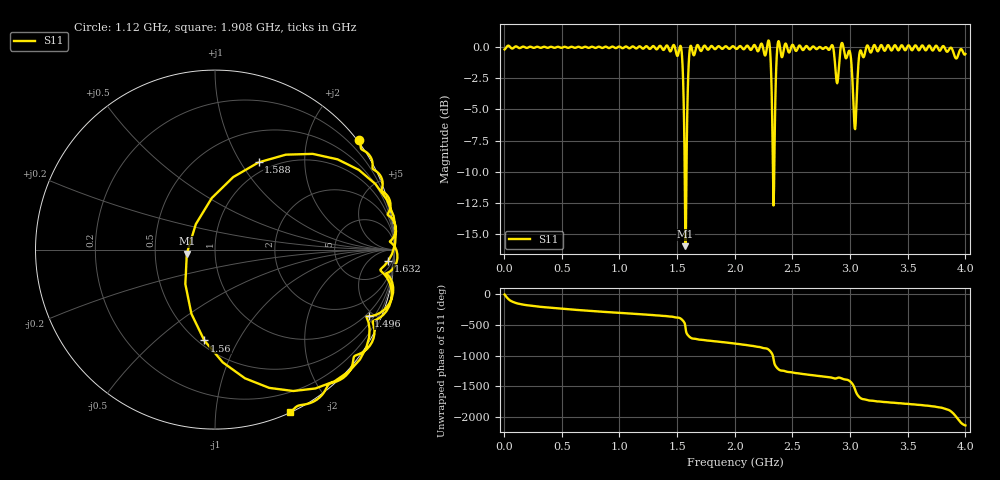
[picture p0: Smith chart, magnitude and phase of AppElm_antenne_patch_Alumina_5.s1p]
! TOUCHSTONE file generated by CST MICROWAVE STUDIO
! Date and time: Thu Jun  9 09:13:15 2022
! Project name: AppElm_antenne_patch_Alumina.cst
! Parameters = {L=30.5; W=41.8; e=0.035; h=1.6; lambda=0.190476; ls=90; w0=1.064; w1=0.373; ws=90; y0=14; y1=10}
! Header version: 2018
! Port assignment regex: !\s*Touchstone port\s*([0-9]+)\s*=\s*(CST MWS port|CST DS port)\s*([0-9]+|Zmin|Zmax)\s*\(\"(.*)\"\)(\s*mode\s*([0-9]+))?.*
! Touchstone port assignment:
! Touchstone port 1 = CST MWS port 1 ("")
# GHz S MA R 50
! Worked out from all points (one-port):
!   1000 points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, 4 MHz to 4 GHz, reference 50 ohm
!   lowest |S11| = -16.0 dB at 1.572 GHz (marker M1), VSWR 1.38, Z = 36.4 - j1.63 ohm
!   |S11| at or under -10 dB: 1.566 GHz to 1.581 GHz (15.19 MHz wide, 0.965 % of centre); 2.331149 GHz to 2.342106 GHz (10.96 MHz wide, 0.469 % of centre)
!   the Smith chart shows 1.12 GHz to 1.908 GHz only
!   S11 on the Smith chart (normalised r, x): 1.12 GHz: -0.03, +2.96; 1.496 GHz: 0.81, -4.68; 1.56 GHz: 0.54, -0.73; 1.588 GHz: 0.87, +1.20; 1.632 GHz: 12, -24; 1.908 GHz: 0.00, -1.57
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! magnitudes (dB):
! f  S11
! 4 MHz  -0.2
! 504 MHz  0.0
! 1.004 GHz  0.0
! 1.12 GHz  0.1
! 1.496 GHz  -0.6
! 1.504 GHz  -0.7
! 1.536 GHz  -0.1
! 1.56 GHz  -5.9
! 1.572 GHz  -16.0
! 1.588 GHz  -5.3
! 1.608 GHz  -0.3
! 1.632 GHz  -0.3
! 1.908 GHz  0.0
! 2.004 GHz  -0.1
! 2.292 GHz  0.5
! 2.336 GHz  -12.7
! 2.348 GHz  -6.1
! 2.368 GHz  -0.1
! 2.38 GHz  0.5
! 2.504 GHz  0.2
! 2.84 GHz  0.2
! 2.888 GHz  -2.9
! 2.932 GHz  0.3
! 3.004 GHz  -0.6
! 3.044 GHz  -6.6
! 3.096 GHz  -0.3
! 3.504 GHz  0.1
! 4 GHz  -0.5
